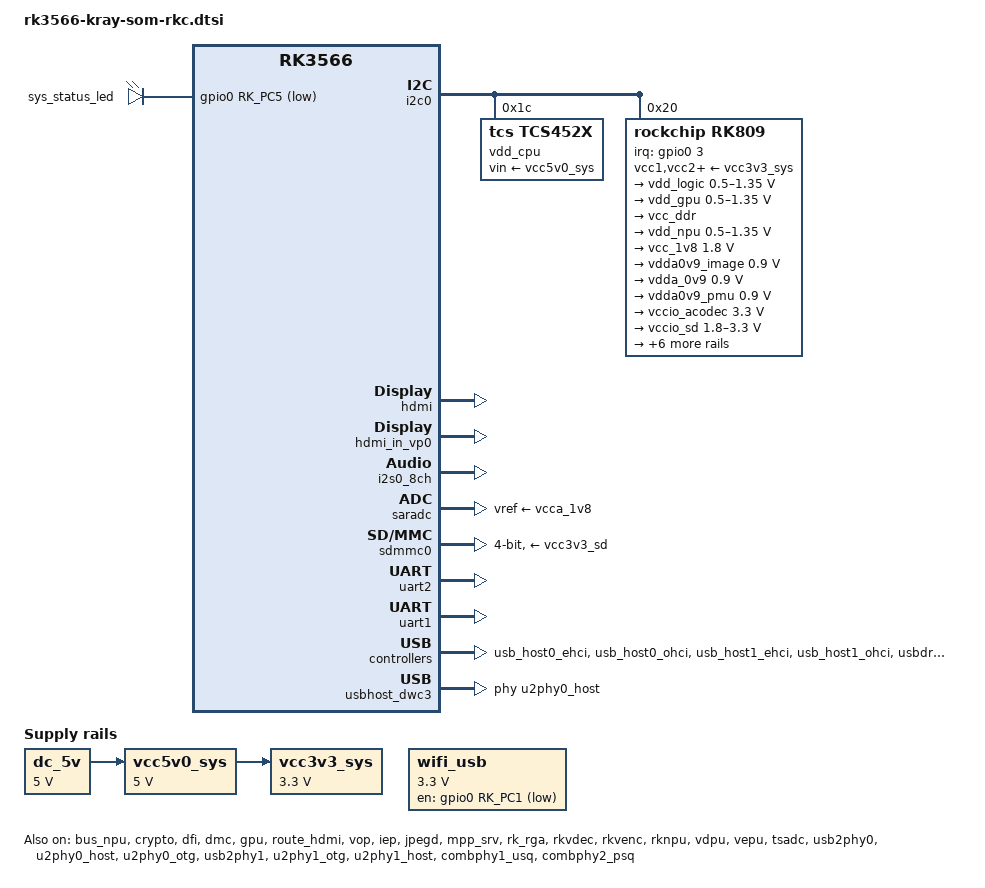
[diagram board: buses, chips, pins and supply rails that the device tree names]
// SPDX-License-Identifier: (GPL-2.0+ OR MIT)
/*
 * Common part of the Kray-SoM-RKC and LubanCat Zero N device trees
 * (RK3566, RK809, GbE, USB, HDMI). The board files add the Ethernet PHY
 * wiring and, on Kray-SoM-RKC, the PCIe slot.
 *
 * Ported for the Armbian rk35xx vendor kernel (rk-6.1) from EmbedFire's
 * rk3566-lubancat-0.dts / rk3566-lubancat.dtsi (LubanCat/kernel lbc-develop-6.1).
 * Camera, DSI panel, backlight and touch nodes are dropped; they can come
 * back as overlays.
 */

#include <dt-bindings/gpio/gpio.h>
#include <dt-bindings/pwm/pwm.h>
#include <dt-bindings/pinctrl/rockchip.h>
#include <dt-bindings/display/rockchip_vop.h>
#include "rk3566.dtsi"
#include "rk3568-linux.dtsi"

/ {
	aliases {
		/*
		 * rk356x.dtsi also names gmac1 ethernet1; with two aliases for
		 * one controller udev picks either end0 or end1. Keep one.
		 */
		/delete-property/ ethernet1;
		ethernet0 = &gmac1;
		mmc0 = &sdhci;
		mmc1 = &sdmmc0;
	};

	dc_5v: dc-5v {
		compatible = "regulator-fixed";
		regulator-name = "dc_5v";
		regulator-always-on;
		regulator-boot-on;
		regulator-min-microvolt = <5000000>;
		regulator-max-microvolt = <5000000>;
	};

	vcc5v0_sys: vcc5v0-sys {
		compatible = "regulator-fixed";
		regulator-name = "vcc5v0_sys";
		regulator-always-on;
		regulator-boot-on;
		regulator-min-microvolt = <5000000>;
		regulator-max-microvolt = <5000000>;
		vin-supply = <&dc_5v>;
	};

	vcc3v3_sys: vcc3v3-sys {
		compatible = "regulator-fixed";
		regulator-name = "vcc3v3_sys";
		regulator-always-on;
		regulator-boot-on;
		regulator-min-microvolt = <3300000>;
		regulator-max-microvolt = <3300000>;
		vin-supply = <&vcc5v0_sys>;
	};

	/* Power switch for the on-board USB WiFi module / header */
	wifi_usb: wifi-usb {
		compatible = "regulator-fixed";
		regulator-name = "wifi_usb";
		regulator-min-microvolt = <3300000>;
		regulator-max-microvolt = <3300000>;
		pinctrl-names = "default";
		pinctrl-0 = <&wifi_poweren_gpio>;
		regulator-always-on;
		gpio = <&gpio0 RK_PC1 GPIO_ACTIVE_LOW>;
	};

	leds: leds {
		compatible = "gpio-leds";
		status = "okay";

		sys_led: sys-led {
			label = "sys_status_led";
			linux,default-trigger = "heartbeat";
			default-state = "on";
			gpios = <&gpio0 RK_PC5 GPIO_ACTIVE_LOW>;
			pinctrl-names = "default";
			pinctrl-0 = <&sys_led_pin>;
		};
	};

	/*
	 * Armbian's boot script passes console=ttyS2; hand UART2 to the 8250
	 * driver instead of the FIQ debugger so the console also accepts input.
	 */
	fiq-debugger {
		status = "disabled";
	};

	hdmi_sound: hdmi-sound {
		compatible = "simple-audio-card";
		simple-audio-card,format = "i2s";
		simple-audio-card,mclk-fs = <128>;
		simple-audio-card,name = "rockchip,hdmi";
		status = "okay";

		simple-audio-card,cpu {
			sound-dai = <&i2s0_8ch>;
		};

		simple-audio-card,codec {
			sound-dai = <&hdmi>;
		};
	};
};

&bus_npu {
	bus-supply = <&vdd_logic>;
	pvtm-supply = <&vdd_cpu>;
	status = "okay";
};

&cpu0 {
	cpu-supply = <&vdd_cpu>;
};

&crypto {
	status = "okay";
};

&dfi {
	status = "okay";
};

&dmc {
	center-supply = <&vdd_logic>;
	status = "okay";
};

&gpu {
	mali-supply = <&vdd_gpu>;
	status = "okay";
};

&i2c0 {
	status = "okay";

	vdd_cpu: tcs4525@1c {
		compatible = "tcs,tcs452x";
		reg = <0x1c>;
		vin-supply = <&vcc5v0_sys>;
		regulator-compatible = "fan53555-reg";
		regulator-name = "vdd_cpu";
		regulator-min-microvolt = <712500>;
		regulator-max-microvolt = <1390000>;
		regulator-ramp-delay = <2300>;
		fcs,suspend-voltage-selector = <1>;
		regulator-boot-on;
		regulator-always-on;
		regulator-state-mem {
			regulator-off-in-suspend;
		};
	};

	rk809: pmic@20 {
		compatible = "rockchip,rk809";
		reg = <0x20>;
		interrupt-parent = <&gpio0>;
		interrupts = <3 IRQ_TYPE_LEVEL_LOW>;

		pinctrl-names = "default", "pmic-sleep",
				"pmic-power-off", "pmic-reset";
		pinctrl-0 = <&pmic_int>;
		pinctrl-1 = <&soc_slppin_slp>, <&rk817_slppin_slp>;
		pinctrl-2 = <&soc_slppin_gpio>, <&rk817_slppin_pwrdn>;
		pinctrl-3 = <&soc_slppin_gpio>, <&rk817_slppin_rst>;

		rockchip,system-power-controller;
		wakeup-source;
		#clock-cells = <1>;
		clock-output-names = "rk808-clkout1", "rk808-clkout2";
		/* 1: rst regs (default in codes), 0: rst the pmic */
		pmic-reset-func = <0>;
		/* not save the PMIC_POWER_EN register in uboot */
		not-save-power-en = <1>;

		vcc1-supply = <&vcc3v3_sys>;
		vcc2-supply = <&vcc3v3_sys>;
		vcc3-supply = <&vcc3v3_sys>;
		vcc4-supply = <&vcc3v3_sys>;
		vcc5-supply = <&vcc3v3_sys>;
		vcc6-supply = <&vcc3v3_sys>;
		vcc7-supply = <&vcc3v3_sys>;
		vcc8-supply = <&vcc3v3_sys>;
		vcc9-supply = <&vcc3v3_sys>;

		pwrkey {
			status = "okay";
		};

		pinctrl_rk8xx: pinctrl_rk8xx {
			gpio-controller;
			#gpio-cells = <2>;

			rk817_slppin_null: rk817_slppin_null {
				pins = "gpio_slp";
				function = "pin_fun0";
			};

			rk817_slppin_slp: rk817_slppin_slp {
				pins = "gpio_slp";
				function = "pin_fun1";
			};

			rk817_slppin_pwrdn: rk817_slppin_pwrdn {
				pins = "gpio_slp";
				function = "pin_fun2";
			};

			rk817_slppin_rst: rk817_slppin_rst {
				pins = "gpio_slp";
				function = "pin_fun3";
			};
		};

		regulators {
			vdd_logic: DCDC_REG1 {
				regulator-always-on;
				regulator-boot-on;
				regulator-min-microvolt = <500000>;
				regulator-max-microvolt = <1350000>;
				regulator-init-microvolt = <900000>;
				regulator-ramp-delay = <6001>;
				regulator-initial-mode = <0x2>;
				regulator-name = "vdd_logic";
				regulator-state-mem {
					regulator-off-in-suspend;
				};
			};

			vdd_gpu: DCDC_REG2 {
				regulator-always-on;
				regulator-boot-on;
				regulator-min-microvolt = <500000>;
				regulator-max-microvolt = <1350000>;
				regulator-init-microvolt = <900000>;
				regulator-ramp-delay = <6001>;
				regulator-initial-mode = <0x2>;
				regulator-name = "vdd_gpu";
				regulator-state-mem {
					regulator-off-in-suspend;
				};
			};

			vcc_ddr: DCDC_REG3 {
				regulator-always-on;
				regulator-boot-on;
				regulator-initial-mode = <0x2>;
				regulator-name = "vcc_ddr";
				regulator-state-mem {
					regulator-on-in-suspend;
				};
			};

			vdd_npu: DCDC_REG4 {
				regulator-always-on;
				regulator-boot-on;
				regulator-min-microvolt = <500000>;
				regulator-max-microvolt = <1350000>;
				regulator-init-microvolt = <900000>;
				regulator-ramp-delay = <6001>;
				regulator-initial-mode = <0x2>;
				regulator-name = "vdd_npu";
				regulator-state-mem {
					regulator-off-in-suspend;
				};
			};

			vcc_1v8: DCDC_REG5 {
				regulator-always-on;
				regulator-boot-on;
				regulator-min-microvolt = <1800000>;
				regulator-max-microvolt = <1800000>;
				regulator-name = "vcc_1v8";
				regulator-state-mem {
					regulator-off-in-suspend;
				};
			};

			vdda0v9_image: LDO_REG1 {
				regulator-always-on;
				regulator-boot-on;
				regulator-min-microvolt = <900000>;
				regulator-max-microvolt = <900000>;
				regulator-name = "vdda0v9_image";
				regulator-state-mem {
					regulator-off-in-suspend;
				};
			};

			vdda_0v9: LDO_REG2 {
				regulator-always-on;
				regulator-boot-on;
				regulator-min-microvolt = <900000>;
				regulator-max-microvolt = <900000>;
				regulator-name = "vdda_0v9";
				regulator-state-mem {
					regulator-off-in-suspend;
				};
			};

			vdda0v9_pmu: LDO_REG3 {
				regulator-always-on;
				regulator-boot-on;
				regulator-min-microvolt = <900000>;
				regulator-max-microvolt = <900000>;
				regulator-name = "vdda0v9_pmu";
				regulator-state-mem {
					regulator-on-in-suspend;
					regulator-suspend-microvolt = <900000>;
				};
			};

			vccio_acodec: LDO_REG4 {
				regulator-always-on;
				regulator-boot-on;
				regulator-min-microvolt = <3300000>;
				regulator-max-microvolt = <3300000>;
				regulator-name = "vccio_acodec";
				regulator-state-mem {
					regulator-off-in-suspend;
				};
			};

			vccio_sd: LDO_REG5 {
				regulator-always-on;
				regulator-boot-on;
				regulator-min-microvolt = <1800000>;
				regulator-max-microvolt = <3300000>;
				regulator-name = "vccio_sd";
				regulator-state-mem {
					regulator-off-in-suspend;
				};
			};

			vcc3v3_pmu: LDO_REG6 {
				regulator-always-on;
				regulator-boot-on;
				regulator-min-microvolt = <3300000>;
				regulator-max-microvolt = <3300000>;
				regulator-name = "vcc3v3_pmu";
				regulator-state-mem {
					regulator-on-in-suspend;
					regulator-suspend-microvolt = <3300000>;
				};
			};

			vcca_1v8: LDO_REG7 {
				regulator-always-on;
				regulator-boot-on;
				regulator-min-microvolt = <1800000>;
				regulator-max-microvolt = <1800000>;
				regulator-name = "vcca_1v8";
				regulator-state-mem {
					regulator-off-in-suspend;
				};
			};

			vcca1v8_pmu: LDO_REG8 {
				regulator-always-on;
				regulator-boot-on;
				regulator-min-microvolt = <1800000>;
				regulator-max-microvolt = <1800000>;
				regulator-name = "vcca1v8_pmu";
				regulator-state-mem {
					regulator-on-in-suspend;
					regulator-suspend-microvolt = <1800000>;
				};
			};

			vcca1v8_image: LDO_REG9 {
				regulator-always-on;
				regulator-boot-on;
				regulator-min-microvolt = <1800000>;
				regulator-max-microvolt = <1800000>;
				regulator-name = "vcca1v8_image";
				regulator-state-mem {
					regulator-off-in-suspend;
				};
			};

			vcc_3v3: SWITCH_REG1 {
				regulator-always-on;
				regulator-boot-on;
				regulator-name = "vcc_3v3";
				regulator-state-mem {
					regulator-off-in-suspend;
				};
			};

			vcc3v3_sd: SWITCH_REG2 {
				regulator-always-on;
				regulator-boot-on;
				regulator-name = "vcc3v3_sd";
				regulator-state-mem {
					regulator-off-in-suspend;
				};
			};
		};

		/* No analog audio on Kray-SoM-RKC */
		rk809_codec: codec {
			#sound-dai-cells = <0>;
			compatible = "rockchip,rk809-codec", "rockchip,rk817-codec";
			status = "disabled";
		};
	};
};


&hdmi {
	status = "okay";
};

&hdmi_in_vp0 {
	status = "okay";
};

&hdmi_in_vp1 {
	status = "disabled";
};

&route_hdmi {
	status = "okay";
	connect = <&vp0_out_hdmi>;
};

&i2s0_8ch {
	status = "okay";
};

&vop {
	status = "okay";
	assigned-clocks = <&cru DCLK_VOP0>, <&cru DCLK_VOP1>;
	assigned-clock-parents = <&pmucru PLL_HPLL>, <&cru PLL_VPLL>;
};

&vop_mmu {
	status = "okay";
};

&vp0 {
	rockchip,plane-mask = <(1 << ROCKCHIP_VOP2_CLUSTER0 | 1 << ROCKCHIP_VOP2_ESMART0 | 1 << ROCKCHIP_VOP2_SMART0)>;
	rockchip,primary-plane = <ROCKCHIP_VOP2_SMART0>;
};

&vp1 {
	rockchip,plane-mask = <(1 << ROCKCHIP_VOP2_CLUSTER1 | 1 << ROCKCHIP_VOP2_ESMART1 | 1 << ROCKCHIP_VOP2_SMART1)>;
	rockchip,primary-plane = <ROCKCHIP_VOP2_SMART1>;
};

&iep {
	status = "okay";
};

&iep_mmu {
	status = "okay";
};

&jpegd {
	status = "okay";
};

&jpegd_mmu {
	status = "okay";
};

&mpp_srv {
	status = "okay";
};

&rk_rga {
	status = "okay";
};

&rkvdec {
	status = "okay";
};

&rkvdec_mmu {
	status = "okay";
};

&rkvenc {
	venc-supply = <&vdd_logic>;
	status = "okay";
};

&rkvenc_mmu {
	status = "okay";
};

&rknpu {
	rknpu-supply = <&vdd_npu>;
	status = "okay";
};

&rknpu_mmu {
	status = "okay";
};

&vdpu {
	status = "okay";
};

&vdpu_mmu {
	status = "okay";
};

&vepu {
	status = "okay";
};

&vepu_mmu {
	status = "okay";
};

&pmu_io_domains {
	status = "okay";
	pmuio2-supply = <&vcc3v3_pmu>;
	vccio1-supply = <&vccio_acodec>;
	vccio3-supply = <&vccio_sd>;
	vccio4-supply = <&vcc_3v3>;
	vccio5-supply = <&vcc_3v3>;
	vccio6-supply = <&vcc_1v8>;
	vccio7-supply = <&vcc_3v3>;
};

/*
 * rk3568-linux.dtsi enables the TRNG, but on RK3566 it fails rngtest
 * (962 of 1000 FIPS 140-2 blocks) and the vendor driver credits it with
 * quality 999, so the kernel would count biased data as entropy.
 * Mainline keeps it disabled on RK3566 for the same reason.
 */
&rng {
	status = "disabled";
};

&rockchip_suspend {
	compatible = "rockchip,pm-rk3568";
	status = "okay";
	rockchip,sleep-debug-en = <1>;
	rockchip,sleep-mode-config = <
		(0
		| RKPM_SLP_ARMOFF_LOGOFF
		| RKPM_SLP_CENTER_OFF
		| RKPM_SLP_HW_PLLS_OFF
		| RKPM_SLP_OSC_DIS
		| RKPM_SLP_PMIC_LP
		| RKPM_SLP_32K_PVTM
		)
	>;
	rockchip,wakeup-config = <
		(0
		| RKPM_GPIO_WKUP_EN
		| RKPM_PWM0_WKUP_EN
		)
	>;
};

&saradc {
	vref-supply = <&vcca_1v8>;
	status = "okay";
};

&tsadc {
	status = "okay";
};

&sdmmc0 {
	max-frequency = <150000000>;
	supports-sd;
	bus-width = <4>;
	cap-mmc-highspeed;
	cap-sd-highspeed;
	disable-wp;
	vmmc-supply = <&vcc3v3_sd>;
	vqmmc-supply = <&vccio_sd>;
	pinctrl-names = "default";
	pinctrl-0 = <&sdmmc0_bus4 &sdmmc0_clk &sdmmc0_cmd &sdmmc0_det>;
	status = "okay";
};

&uart2 {
	pinctrl-names = "default";
	pinctrl-0 = <&uart2m0_xfer>;
	status = "okay";
};

&uart1 {
	status = "okay";
	pinctrl-names = "default";
	pinctrl-0 = <&uart1m0_xfer &uart1m0_ctsn>;
};

/* USB OTG / USB Host_1 USB 2.0 Comb */
&usb2phy0 {
	status = "okay";
};

&u2phy0_host {
	status = "okay";
};

&u2phy0_otg {
	status = "okay";
};

&usb_host0_ehci {
	status = "okay";
};

&usb_host0_ohci {
	status = "okay";
};

/* USB Host_2 / USB Host_3 USB 2.0 Comb */
&usb2phy1 {
	status = "okay";
};

&u2phy1_otg {
	status = "okay";
};

&u2phy1_host {
	status = "okay";
};

&usb_host1_ehci {
	status = "okay";
};

&usb_host1_ohci {
	status = "okay";
};

/* USB3.0 OTG, used as USB2.0 */
&usbdrd30 {
	status = "okay";
};

&usbdrd_dwc3 {
	status = "okay";
};

/* USB3.0 Host wired as USB2.0 only */
&combphy1_usq {
	rockchip,dis-u3otg1-port;
	status = "okay";
};

&usbhost30 {
	status = "okay";
};

&usbhost_dwc3 {
	phys = <&u2phy0_host>;
	phy-names = "usb2-phy";
	maximum-speed = "high-speed";
	status = "okay";
};

&combphy2_psq {
	status = "okay";
};

&pinctrl {
	pmic {
		pmic_int: pmic_int {
			rockchip,pins =
				<0 RK_PA3 RK_FUNC_GPIO &pcfg_pull_up>;
		};

		soc_slppin_gpio: soc_slppin_gpio {
			rockchip,pins =
				<0 RK_PA2 RK_FUNC_GPIO &pcfg_output_low_pull_down>;
		};

		soc_slppin_slp: soc_slppin_slp {
			rockchip,pins =
				<0 RK_PA2 1 &pcfg_pull_up>;
		};

		soc_slppin_rst: soc_slppin_rst {
			rockchip,pins =
				<0 RK_PA2 2 &pcfg_pull_none>;
		};
	};

	wireless-wlan {
		wifi_poweren_gpio: wifi-poweren-gpio {
			rockchip,pins = <0 RK_PC1 RK_FUNC_GPIO &pcfg_pull_none>;
		};
	};

	leds {
		sys_led_pin: sys-led-pin {
			rockchip,pins = <0 RK_PC5 RK_FUNC_GPIO &pcfg_pull_none>;
		};
	};
};
